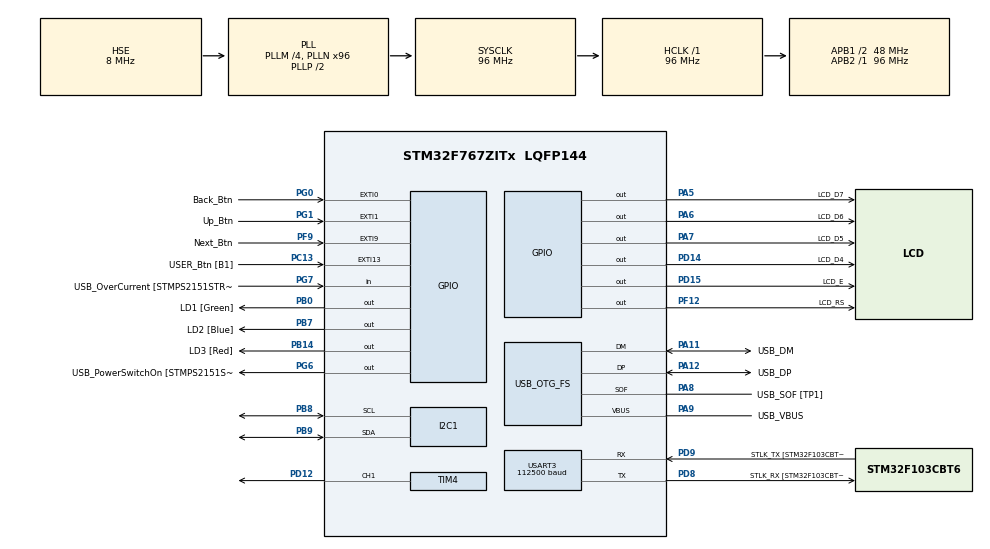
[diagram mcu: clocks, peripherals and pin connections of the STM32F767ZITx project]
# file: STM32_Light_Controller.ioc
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I2C1.Timing=0x20303E5D
Mcu.Family=STM32F7
Mcu.Name=STM32F767ZITx
Mcu.Package=LQFP144
NVIC.EXTI0_IRQn=true\:0\:0\:false\:false\:true\:true\:true\:true
NVIC.EXTI15_10_IRQn=true\:0\:0\:false\:false\:true\:true\:true\:true
NVIC.EXTI1_IRQn=true\:0\:0\:false\:false\:true\:true\:true\:true
NVIC.EXTI9_5_IRQn=true\:0\:0\:false\:false\:true\:true\:true\:true
NVIC.PriorityGroup=NVIC_PRIORITYGROUP_4
NVIC.TIM3_IRQn=true\:0\:0\:false\:false\:true\:true\:true\:true
NVIC.TIM4_IRQn=true\:0\:0\:false\:false\:true\:true\:true\:true
NVIC.TIM6_DAC_IRQn=true\:0\:0\:false\:false\:true\:true\:true\:true
NVIC.USART3_IRQn=true\:0\:0\:false\:false\:true\:true\:true\:true
PA1.GPIO_Label=RMII_REF_CLK [LAN8742A-CZ-TR_REFCLK0]
PA1.Signal=ETH_REF_CLK
PA10.GPIO_Label=USB_ID
PA10.Signal=USB_OTG_FS_ID
PA11.GPIO_Label=USB_DM
PA11.Mode=Device_Only
PA11.Signal=USB_OTG_FS_DM
PA12.GPIO_Label=USB_DP
PA12.Mode=Device_Only
PA12.Signal=USB_OTG_FS_DP
PA13.GPIO_Label=TMS
PA13.Mode=Serial_Wire
PA13.Signal=SYS_JTMS-SWDIO
PA14.GPIO_Label=TCK
PA14.Mode=Serial_Wire
PA14.Signal=SYS_JTCK-SWCLK
PA2.GPIO_Label=RMII_MDIO [LAN8742A-CZ-TR_MDIO]
PA2.Signal=ETH_MDIO
PA5.GPIO_Label=LCD_D7
PA5.Signal=GPIO_Output
PA6.GPIO_Label=LCD_D6
PA6.Signal=GPIO_Output
PA7.GPIO_Label=LCD_D5
PA7.Signal=GPIO_Output
PA8.GPIO_Label=USB_SOF [TP1]
PA8.Mode=Activate_SOF_FS
PA8.Signal=USB_OTG_FS_SOF
PA9.GPIO_Label=USB_VBUS
PA9.Mode=Activate_VBUS
PA9.Signal=USB_OTG_FS_VBUS
PB0.GPIO_Label=LD1 [Green]
PB0.Signal=GPIO_Output
PB13.GPIO_Label=RMII_TXD1 [LAN8742A-CZ-TR_TXD1]
PB13.Signal=ETH_TXD1
PB14.GPIO_Label=LD3 [Red]
PB14.Signal=GPIO_Output
PB3.GPIO_Label=SWO
PB3.Signal=SYS_JTDO-SWO
PB7.GPIO_Label=LD2 [Blue]
PB7.Signal=GPIO_Output
PB8.Mode=I2C
PB8.Signal=I2C1_SCL
PB9.Mode=I2C
PB9.Signal=I2C1_SDA
PC1.GPIO_Label=RMII_MDC [LAN8742A-CZ-TR_MDC]
PC1.Signal=ETH_MDC
PC13.GPIO_Label=USER_Btn [B1]
PC13.Signal=GPXTI13
PC14/OSC32_IN.Mode=LSE-External-Oscillator
PC14/OSC32_IN.Signal=RCC_OSC32_IN
PC15/OSC32_OUT.Mode=LSE-External-Oscillator
PC15/OSC32_OUT.Signal=RCC_OSC32_OUT
PC4.GPIO_Label=RMII_RXD0 [LAN8742A-CZ-TR_RXD0]
PC4.Signal=ETH_RXD0
PC5.GPIO_Label=RMII_RXD1 [LAN8742A-CZ-TR_RXD1]
PC5.Signal=ETH_RXD1
PD12.Signal=S_TIM4_CH1
PD14.GPIO_Label=LCD_D4
PD14.Signal=GPIO_Output
PD15.GPIO_Label=LCD_E
PD15.Signal=GPIO_Output
PD8.GPIO_Label=STLK_RX [STM32F103CBT6_PA3]
PD8.Mode=Asynchronous
PD8.Signal=USART3_TX
PD9.GPIO_Label=STLK_TX [STM32F103CBT6_PA2]
PD9.Mode=Asynchronous
PD9.Signal=USART3_RX
PF12.GPIO_Label=LCD_RS
PF12.Signal=GPIO_Output
PF9.GPIO_Label=Next_Btn
PF9.Signal=GPXTI9
PG0.GPIO_Label=Back_Btn
PG0.Signal=GPXTI0
PG1.GPIO_Label=Up_Btn
PG1.Signal=GPXTI1
PG11.GPIO_Label=RMII_TX_EN [LAN8742A-CZ-TR_TXEN]
PG11.Signal=ETH_TX_EN
PG13.GPIO_Label=RMII_TXD0 [LAN8742A-CZ-TR_TXD0]
PG13.Signal=ETH_TXD0
PG6.GPIO_Label=USB_PowerSwitchOn [STMPS2151STR_EN]
PG6.Signal=GPIO_Output
PG7.GPIO_Label=USB_OverCurrent [STMPS2151STR_FAULT]
PG7.Signal=GPIO_Input
PH0/OSC_IN.GPIO_Label=MCO [STM32F103CBT6_PA8]
PH0/OSC_IN.Mode=HSE-External-Clock-Source
PH0/OSC_IN.Signal=RCC_OSC_IN
PH1/OSC_OUT.Mode=HSE-External-Clock-Source
PH1/OSC_OUT.Signal=RCC_OSC_OUT
ProjectManager.HeapSize=0x200
ProjectManager.StackSize=0x400
ProjectManager.TargetToolchain=STM32CubeIDE
RCC.48MHZClocksFreq_Value=24000000
RCC.AHBFreq_Value=96000000
RCC.APB1CLKDivider=RCC_HCLK_DIV2
RCC.APB1Freq_Value=48000000
RCC.APB1TimFreq_Value=96000000
RCC.APB2Freq_Value=96000000
RCC.APB2TimFreq_Value=96000000
RCC.CortexFreq_Value=96000000
RCC.HCLKFreq_Value=96000000
RCC.HSE_VALUE=8000000
RCC.HSI_VALUE=16000000
RCC.PLLM=4
RCC.PLLMUL=RCC_PLL_MUL9
RCC.PLLN=96
RCC.PLLQ=4
RCC.PRESCALERUSB=RCC_USBCLKSOURCE_PLL_DIV1_5
RCC.SYSCLKFreq_VALUE=96000000
RCC.SYSCLKSource=RCC_SYSCLKSOURCE_PLLCLK
RCC.SYSCLKSourceVirtual=RCC_SYSCLKSOURCE_PLLCLK
RCC.USBFreq_Value=48000000
RCC.VCOOutputFreq_Value=192000000
SH.S_TIM4_CH1.0=TIM4_CH1,PWM Generation1 CH1
TIM14.Period=65000
TIM14.Prescaler=95
TIM3.Period=4999
TIM3.Prescaler=9599
TIM4.Channel-PWM\ Generation1\ CH1=TIM_CHANNEL_1
TIM4.Period=999
TIM4.Prescaler=95
TIM4.Pulse-PWM\ Generation1\ CH1=500
TIM6.Period=199
TIM6.Prescaler=9599
USART3.BaudRate=112500
USART3.VirtualMode-Asynchronous=VM_ASYNC
USB_OTG_FS.VirtualMode=Device_Only
VP_TIM14_VS_ClockSourceINT.Mode=Enable_Timer
VP_TIM3_VS_ClockSourceINT.Mode=Internal
VP_TIM4_VS_ClockSourceINT.Mode=Internal
VP_TIM6_VS_ClockSourceINT.Mode=Enable_Timer
board=NUCLEO-F767ZI

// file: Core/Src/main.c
/* USER CODE BEGIN Header */
/**
  ******************************************************************************
  * @file           : main.c
  * @brief          : Main program body
  ******************************************************************************
  * @attention
  *
  * Copyright (c) 2023 STMicroelectronics.
  * All rights reserved.
  *
  * This software is licensed under terms that can be found in the LICENSE file
  * in the root directory of this software component.
  * If no LICENSE file comes with this software, it is provided AS-IS.
  *
  ******************************************************************************
  */
/* USER CODE END Header */
#include "main.h"
#include "i2c.h"
#include "tim.h"
#include "usart.h"
#include "usb_otg.h"
#include "gpio.h"

/* USER CODE BEGIN Includes */
#include "lcd_config.h"
#include "bh1750_config.h"
#include "pid_config.h"
#include "menu_config.h"
/* USER CODE END Includes */

/* USER CODE BEGIN PV */
uint8_t Received[10];
//char str_buffer[16];
float pulse = 0;
int int_pulse, int_Light, int_LightSetpoint;
double Light, PID_Out, LightSetpoint;
char send_buffer[150];

/* USER CODE END PV */

void SystemClock_Config(void);
/* USER CODE BEGIN PFP */
void send_string(char* s)
{
	HAL_UART_Transmit_IT(&huart3, (uint8_t*)s, strlen(s));
}

/* USER CODE END PFP */

/* USER CODE BEGIN 0 */
void HAL_GPIO_EXTI_Callback ( uint16_t GPIO_Pin )
{
	if(GPIO_Pin == Back_Btn_Pin)
	{
		if(hmenu.Item->Parent != NULL)
		{
			hmenu.Item = hmenu.Item->Parent;
			hmenu.ItemChanged = 1;
		}
	}
	else if(GPIO_Pin == Up_Btn_Pin)
	{
		if(hmenu.Item->Next != NULL)
		{
			hmenu.Item = hmenu.Item->Next;
			hmenu.ItemChanged = 1;
		}
	}
	else if(GPIO_Pin == Next_Btn_Pin)
	{
		if(hmenu.Item->Child != NULL)
		{
			hmenu.Item = hmenu.Item->Child;
			hmenu.ItemChanged = 1;
		}
	}
}

void HAL_TIM_PeriodElapsedCallback(TIM_HandleTypeDef *htim)
{

  if (htim->Instance == TIM3)
  {
	  static int time_ms2 = 0;

	  MENU_ROUTINE(&hmenu);

	  if(time_ms2 % 1000 == 0)
	  {
		  int_LightSetpoint = (int)LightSetpoint;
		  sprintf(send_buffer, "*****\n\nLight set value: %4d [lx]\nCurrent value: %4d [lx]\nController Signal: %2.1f [%%]\n\n", int_LightSetpoint, int_Light, PID_Out/10);
		  send_string(send_buffer);
	  }

	  time_ms2 += 500;
	  if(time_ms2 == 3000)
	  {
		  time_ms2 = 0;
	  }
  }

  if (htim->Instance == TIM6)
    {
	  static int time_ms = 0;

	  if(time_ms % 20 == 0)
	  {
		  Light = BH1750_ReadLux(&hbh1750_1);
		  int_Light = (int)Light;

		  PID_Compute(&Light_PID);

		  int_pulse = (int)PID_Out;
		  __HAL_TIM_SET_COMPARE(&htim4, TIM_CHANNEL_1, int_pulse);
	  }

	  time_ms += 20;
	  if(time_ms == 1000)
	  {
		  time_ms = 0;
	  }
    }

}

void HAL_UART_RxCpltCallback(UART_HandleTypeDef *huart)
{
	uint8_t Data[6];
	sprintf(Data, "%s",Received);
	if(Data[0]=='L')
	{
		int value = atoi(&Data[1]);
		if(value >= 0 && value <=9999)
		{
			char send_buffer[32];
			LightSetpoint = value;

			sprintf(send_buffer, "Light: %4d [lx]\r\n", value);
			send_string(send_buffer);
		}
	}
	if(Data[0]=='M')
	{
		if(!strncmp( Data, "MNext", 5 ) && hmenu.Item->Next != NULL)
		{
			hmenu.Item = hmenu.Item->Next;
			hmenu.ItemChanged = 1;
		}
		if(!strncmp( Data, "MPrev", 5 ) && hmenu.Item->Prev != NULL)
		{
			hmenu.Item = hmenu.Item->Prev;
			hmenu.ItemChanged = 1;
		}
		if(!strncmp( Data, "MChld", 5 ) && hmenu.Item->Child != NULL)
		{
			hmenu.Item = hmenu.Item->Child;
			hmenu.ItemChanged = 1;
		}
		if(!strncmp( Data, "MPrnt", 5 ) && hmenu.Item->Parent != NULL)
		{
			hmenu.Item = hmenu.Item->Parent;
			hmenu.ItemChanged = 1;
		}
	}
	HAL_UART_Receive_IT(&huart3, Received, 5);
}

/* USER CODE END 0 */

int main(void)
{

  /* MCU Configuration--------------------------------------------------------*/

  /* Reset of all peripherals, Initializes the Flash interface and the Systick. */
  HAL_Init();

  /* Configure the system clock */
  SystemClock_Config();

  /* Initialize all configured peripherals */
  MX_GPIO_Init();
  MX_USART3_UART_Init();
  MX_USB_OTG_FS_PCD_Init();
  MX_TIM4_Init();
  MX_I2C1_Init();
  MX_TIM6_Init();
  MX_TIM14_Init();
  MX_TIM3_Init();
  /* USER CODE BEGIN 2 */

  BH1750_Init(&hbh1750_1);
  Lcd_init(&lcd);

  LightSetpoint = 200;
  PID(&Light_PID, &Light, &PID_Out, &LightSetpoint, 0.2, 10, 0, _PID_P_ON_E, _PID_CD_DIRECT);

  PID_SetMode(&Light_PID, _PID_MODE_AUTOMATIC);
  PID_SetSampleTime(&Light_PID, 20);
  PID_SetOutputLimits(&Light_PID, 0, 999);

  MENU_Init(&hmenu);

  /* USER CODE END 2 */

  /* Infinite loop */
  /* USER CODE BEGIN WHILE */

  HAL_TIM_Base_Start_IT(&htim3);
  HAL_TIM_Base_Start_IT(&htim4);
  HAL_TIM_Base_Start_IT(&htim6);
  HAL_TIM_PWM_Start(&htim4, TIM_CHANNEL_1);
  HAL_UART_Receive_IT(&huart3, Received, 5);

  while (1)
  {
    /* USER CODE END WHILE */

  }
}

void SystemClock_Config(void)
{
  RCC_OscInitTypeDef RCC_OscInitStruct = {0};
  RCC_ClkInitTypeDef RCC_ClkInitStruct = {0};

  /** Configure LSE Drive Capability
  */
  HAL_PWR_EnableBkUpAccess();

  /** Configure the main internal regulator output voltage
  */
  __HAL_RCC_PWR_CLK_ENABLE();
  __HAL_PWR_VOLTAGESCALING_CONFIG(PWR_REGULATOR_VOLTAGE_SCALE3);

  /** Initializes the RCC Oscillators according to the specified parameters
  * in the RCC_OscInitTypeDef structure.
  */
  RCC_OscInitStruct.OscillatorType = RCC_OSCILLATORTYPE_HSE;
  RCC_OscInitStruct.HSEState = RCC_HSE_BYPASS;
  RCC_OscInitStruct.PLL.PLLState = RCC_PLL_ON;
  RCC_OscInitStruct.PLL.PLLSource = RCC_PLLSOURCE_HSE;
  RCC_OscInitStruct.PLL.PLLM = 4;
  RCC_OscInitStruct.PLL.PLLN = 96;
  RCC_OscInitStruct.PLL.PLLP = RCC_PLLP_DIV2;
  RCC_OscInitStruct.PLL.PLLQ = 4;
  RCC_OscInitStruct.PLL.PLLR = 2;
  if (HAL_RCC_OscConfig(&RCC_OscInitStruct) != HAL_OK)
  {
    Error_Handler();
  }

  /** Activate the Over-Drive mode
  */
  if (HAL_PWREx_EnableOverDrive() != HAL_OK)
  {
    Error_Handler();
  }

  /** Initializes the CPU, AHB and APB buses clocks
  */
  RCC_ClkInitStruct.ClockType = RCC_CLOCKTYPE_HCLK|RCC_CLOCKTYPE_SYSCLK
                              |RCC_CLOCKTYPE_PCLK1|RCC_CLOCKTYPE_PCLK2;
  RCC_ClkInitStruct.SYSCLKSource = RCC_SYSCLKSOURCE_PLLCLK;
  RCC_ClkInitStruct.AHBCLKDivider = RCC_SYSCLK_DIV1;
  RCC_ClkInitStruct.APB1CLKDivider = RCC_HCLK_DIV2;
  RCC_ClkInitStruct.APB2CLKDivider = RCC_HCLK_DIV1;

  if (HAL_RCC_ClockConfig(&RCC_ClkInitStruct, FLASH_LATENCY_3) != HAL_OK)
  {
    Error_Handler();
  }
}

void Error_Handler(void)
{
  __disable_irq();
  while (1)
  {
  }
}
